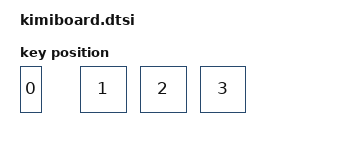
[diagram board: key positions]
#include <physical_layouts.dtsi>

/ {
    kimi_physical_layout: kimi_physical_layout {
        compatible = "zmk,physical-layout";
        display-name = "Default Layout";

        // Reference to the kscan and matrix transform nodes
        kscan = <&kscan0>;
        transform = <&default_transform>;

        keys  //                    w   h     x    y   rot rx  ry
            = <&key_physical_attrs  50  100   0    0   0   0   0>   // SW1(リセット用ボタン)
            , <&key_physical_attrs  100 100   120  0   0   0   0>   // SW2(左ボタン)
            , <&key_physical_attrs  100 100   240  0   0   0   0>   // SW3(中央ボタン)
            , <&key_physical_attrs  100 100   360  0   0   0   0>   // SW4(右ボタン)
            ;
    };
};

